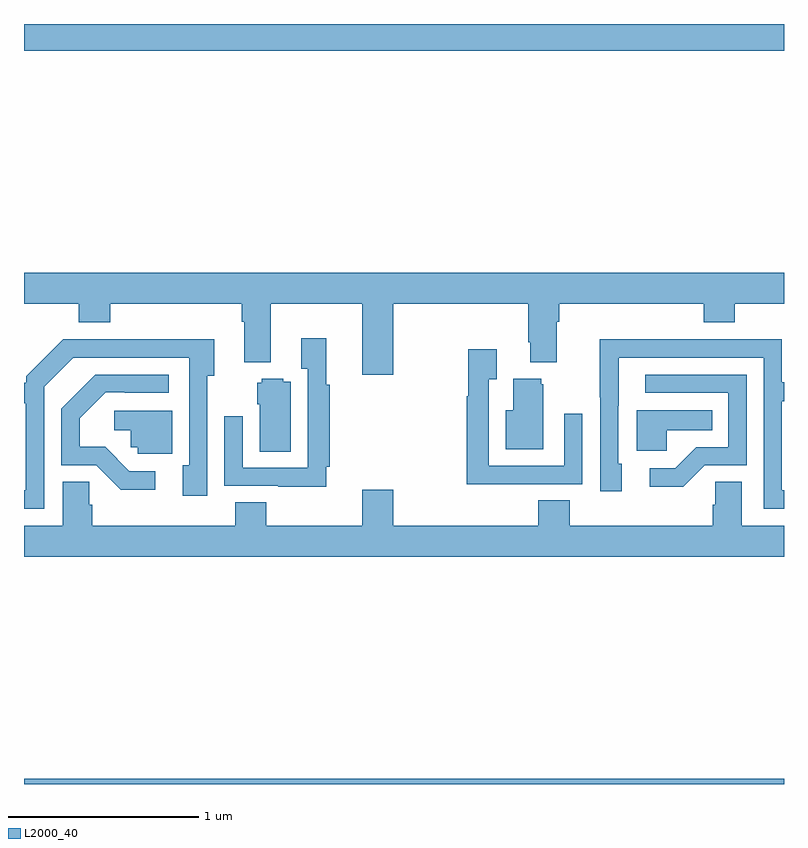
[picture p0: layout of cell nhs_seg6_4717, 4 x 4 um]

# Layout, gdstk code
import gdstk
lib = gdstk.Library(unit=1e-6, precision=1e-09)
def R(c, l, rs):  # rectangles x0, y0, x1, y1
    for r in rs: c.add(gdstk.rectangle(r[:2], r[2:], *l))
def P(c, l, *ps):  # polygons
    for p in ps: c.add(gdstk.Polygon(p, *l))
L2000_40 = (2000, 40)

nhs_seg6_4717 = lib.new_cell('nhs_seg6_4717')
R(nhs_seg6_4717, L2000_40, [(391,919.5,395,919.528), (391,923.36,395,923.5)])
P(nhs_seg6_4717, L2000_40, [(391,922.028),(391.289,922.028),(391.289,921.929),(391.454,921.929),(391.454,922.028),(392.147,922.028),(392.147,921.932),(392.159,921.932),(392.159,921.719),(392.299,921.719),(392.299,922.028),(392.78,922.028),(392.78,921.654),(392.944,921.654),(392.944,922.028),(393.653,922.028),(393.653,921.826),(393.665,921.826),(393.665,921.719),(393.805,921.719),(393.805,921.932),(393.818,921.932),(393.818,922.028),(394.577,922.028),(394.577,921.929),(394.742,921.929),(394.742,922.028),(395,922.028),(395,922.192),(391,922.192)],
  [(392.591,921.169),(392.609,921.169),(392.609,921.602),(392.591,921.602),(392.591,921.847),(392.459,921.847),(392.459,921.686),(392.493,921.686),(392.493,921.165),(392.151,921.165),(392.151,921.436),(392.055,921.436),(392.055,921.069),(392.339,921.069),(392.339,921.065),(392.591,921.065)],
  [(391.107,921.591),(391.26,921.744),(391.869,921.744),(391.869,921.178),(391.835,921.178),(391.835,921.018),(391.965,921.018),(391.965,921.65),(392.002,921.65),(392.002,921.842),(391.537,921.842),(391.537,921.84),(391.206,921.84),(391.011,921.645),(391.011,921.613),(391,921.613),(391,921.504),(391.01,921.504),(391.01,921.045),(391,921.045),(391,920.949),(391.107,920.949)],
  [(395,921.045),(394.989,921.045),(394.989,921.514),(395,921.514),(395,921.615),(394.989,921.615),(394.989,921.84),(394.493,921.84),(394.493,921.842),(394.03,921.842),(394.03,921.535),(394.032,921.535),(394.032,921.042),(394.147,921.042),(394.147,921.186),(394.128,921.186),(394.128,921.49),(394.129,921.49),(394.129,921.744),(394.893,921.744),(394.893,920.949),(395,920.949)],
  [(393.623,921.078),(393.939,921.078),(393.939,921.448),(393.843,921.448),(393.843,921.174),(393.447,921.174),(393.447,921.631),(393.487,921.631),(393.487,921.787),(393.339,921.787),(393.339,921.542),(393.331,921.542),(393.331,921.077),(393.623,921.077)],
  [(394.584,921.177),(394.803,921.177),(394.803,921.654),(394.269,921.654),(394.269,921.558),(394.707,921.558),(394.707,921.273),(394.538,921.273),(394.427,921.162),(394.293,921.162),(394.293,921.065),(394.471,921.065)],
  [(391.69,921.147),(391.554,921.147),(391.427,921.274),(391.294,921.274),(391.294,921.424),(391.431,921.561),(391.531,921.561),(391.531,921.558),(391.762,921.558),(391.762,921.654),(391.376,921.654),(391.197,921.475),(391.197,921.177),(391.38,921.177),(391.508,921.05),(391.69,921.05)],
  [(392.404,921.616),(392.364,921.616),(392.364,921.634),(392.25,921.634),(392.25,921.612),(392.228,921.612),(392.228,921.498),(392.24,921.498),(392.24,921.25),(392.404,921.25)],
  [(393.733,921.603),(393.722,921.603),(393.722,921.634),(393.575,921.634),(393.575,921.466),(393.536,921.466),(393.536,921.263),(393.733,921.263)],
  [(394.383,921.362),(394.622,921.362),(394.622,921.466),(394.226,921.466),(394.226,921.254),(394.383,921.254)],
  [(391.78,921.465),(391.476,921.465),(391.476,921.362),(391.563,921.362),(391.563,921.273),(391.599,921.273),(391.599,921.237),(391.78,921.237)],
  [(395,920.86),(394.777,920.86),(394.777,921.092),(394.638,921.092),(394.638,920.969),(394.625,920.969),(394.625,920.86),(393.872,920.86),(393.872,920.993),(393.707,920.993),(393.707,920.86),(392.944,920.86),(392.944,921.049),(392.78,921.049),(392.78,920.86),(392.276,920.86),(392.276,920.984),(392.111,920.984),(392.111,920.86),(391.358,920.86),(391.358,920.97),(391.343,920.97),(391.343,921.092),(391.205,921.092),(391.205,920.86),(391,920.86),(391,920.696),(395,920.696)])

lib.write_gds('nhs_seg6_4717.gds')
